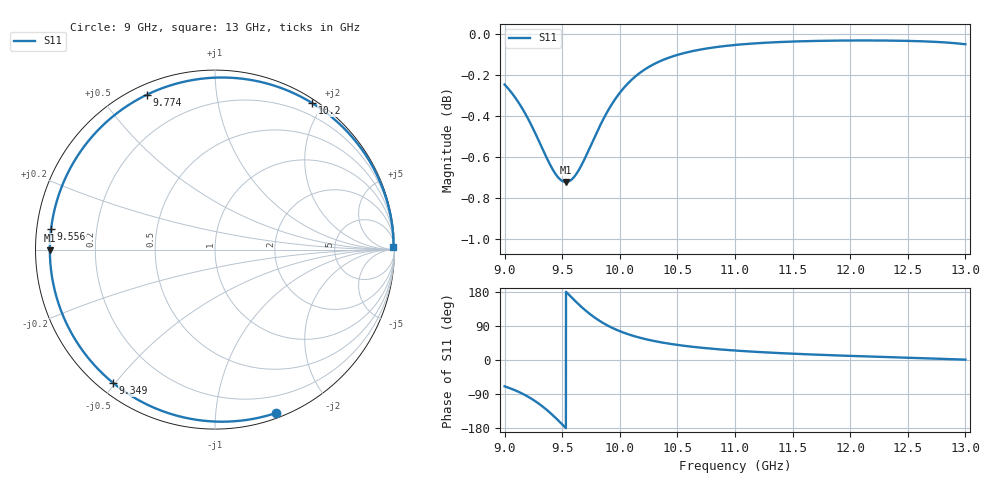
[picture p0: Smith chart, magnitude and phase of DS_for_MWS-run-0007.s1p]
! TOUCHSTONE file generated by CST DESIGN STUDIO
! Date and time: Wed Feb  5 13:30:11 2025
! Project name: C:\Work\MatlabApps\UnitCellOptimizationMatlab\CST\unitcell.cst
! Tree item: Tasks\Sweep1\SPara1\S-Parameters
! Header version: 2024
! Port assignment regex: !\s*Touchstone port\s*([0-9]+)\s*=\s*(CST MWS port|CST DES external port|CST DES block port)\s*(.+)\s* \(\"(.*)\"\)(\s*mode\s*([0-9]+))?.*
! Touchstone port assignment:
! Touchstone port 1 = CST DES external port 1 ("")
# GHz S MA R 50
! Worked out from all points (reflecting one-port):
!   4001 points, 9 GHz to 13 GHz, reference 50 ohm
!   lowest |S11| = -0.7 dB at 9.532 GHz (marker M1), VSWR 24.08, Z = 2.08 - j0.11 ohm
!   phase of S11 starts at -69 deg and turns -290 deg over the sweep
!   S11 on the Smith chart (normalised r, x): 9 GHz: 0.04, -1.44; 9.349 GHz: 0.04, -0.49; 9.556 GHz: 0.04, +0.06; 9.774 GHz: 0.04, +0.65; 10.2 GHz: 0.05, +1.86; 13 GHz: open
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9  0.9719 -69.4
9.098  0.9643 -80.8
9.206  0.9532 -97.3
9.281  0.9438 -111.7
9.349  0.9349 -127.3
9.42  0.9265 -146.2
9.462  0.9228 -158.4
9.5  0.9208 -169.9
9.532  0.9203 -179.7
9.556  0.9206 172.8
9.61  0.9234 156.5
9.67  0.9293 139.3
9.721  0.9357 126.0
9.774  0.9427 113.7
9.821  0.9488 103.9
9.873  0.9551 94.5
9.936  0.9617 84.6
10  0.9674 76.1
10.097  0.9741 65.6
10.204  0.9796 56.5
10.34  0.9844 47.6
10.5  0.9881 39.8
10.721  0.9913 32.0
11  0.9936 25.0
11.5  0.9955 16.6
12  0.9961 10.8
12.5  0.9959 6.0
13  0.994 0.9
